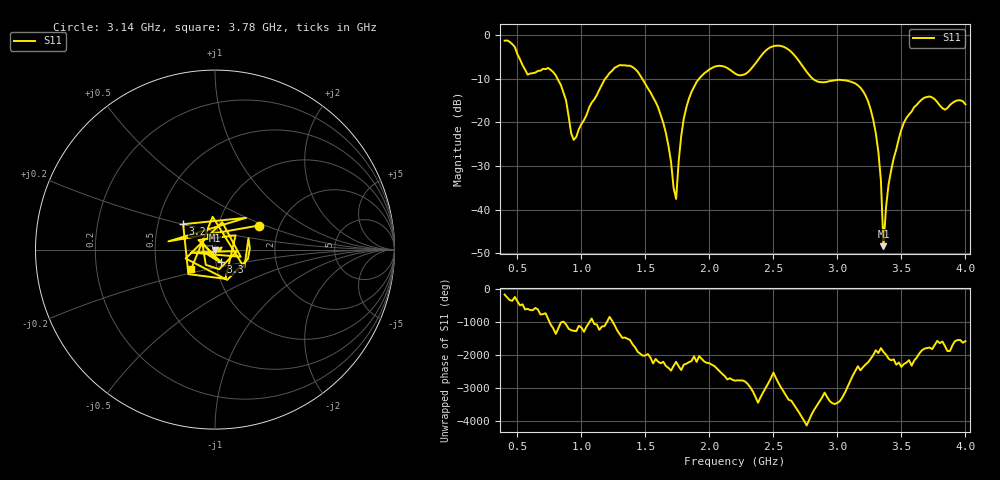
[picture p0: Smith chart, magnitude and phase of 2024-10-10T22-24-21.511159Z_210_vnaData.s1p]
! Created with skrf (http://scikit-rf.org).
# Hz S RI R 50.0
!freq ReS11 ImS11
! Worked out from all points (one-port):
!   181 points, 400 MHz to 4 GHz, reference 50 ohm
!   lowest |S11| = -48.4 dB at 3.36 GHz (marker M1), VSWR 1.01, Z = 49.8 - j0.342 ohm
!   |S11| at or under -10 dB: 812.3 MHz to 1.188 GHz (375.6 MHz wide, 37.6 % of centre); 1.474 GHz to 1.921 GHz (446.4 MHz wide, 26.3 % of centre); 2.806 GHz to end of sweep
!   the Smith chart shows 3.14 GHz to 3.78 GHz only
!   S11 on the Smith chart (normalised r, x): 3.14 GHz: 1.56, +0.45; 3.2 GHz: 0.67, +0.20; 3.3 GHz: 1.06, -0.14; 3.78 GHz: 0.75, -0.17
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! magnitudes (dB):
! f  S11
! 400 MHz  -1.3
! 580 MHz  -9.1
! 740 MHz  -7.6
! 860 MHz  -13.3
! 940 MHz  -24.1
! 1.3 GHz  -6.9
! 1.44 GHz  -8.4
! 1.6 GHz  -16.6
! 1.68 GHz  -25.4
! 1.74 GHz  -37.6
! 1.76 GHz  -28.9
! 1.8 GHz  -19.1
! 1.9 GHz  -10.8
! 2.2 GHz  -8.8
! 2.5 GHz  -2.6
! 2.66 GHz  -4.6
! 2.84 GHz  -10.6
! 3.1 GHz  -10.7
! 3.14 GHz  -11.1
! 3.2 GHz  -12.9
! 3.3 GHz  -22.5
! 3.34 GHz  -33.3
! 3.36 GHz  -48.4
! 3.38 GHz  -39.4
! 3.42 GHz  -31.0
! 3.56 GHz  -18.2
! 3.78 GHz  -15.4
! 4 GHz  -15.9
